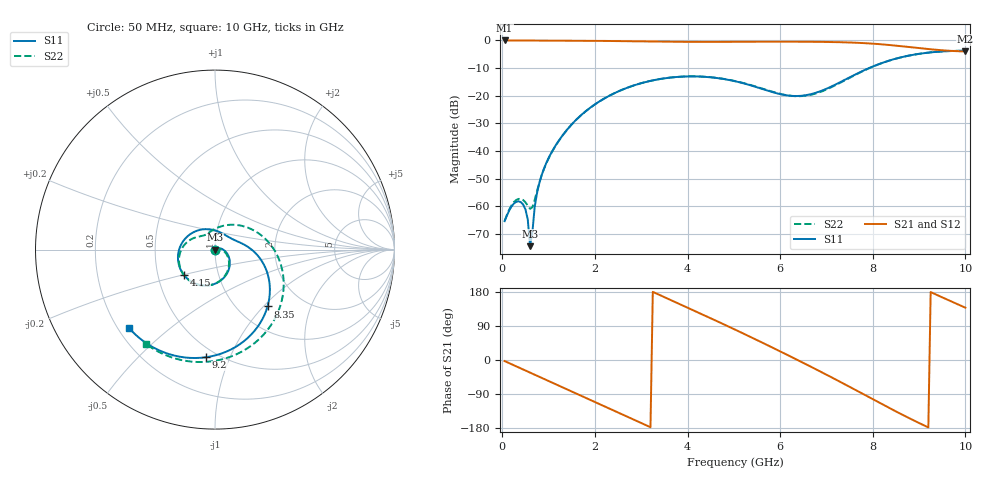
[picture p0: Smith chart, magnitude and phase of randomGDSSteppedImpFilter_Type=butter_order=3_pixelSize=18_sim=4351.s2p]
! freq	dB(S11)	phase(S11)	dB(S12)	phase(S12)
!  dB(S21)	phase(S21)	dB(S22)	phase(S22)
!S-par simulation data
#  GHz  S  DB  R 50
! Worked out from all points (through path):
!   200 points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, 50 MHz to 10 GHz, reference 50 ohm
!   highest |S21| = -0.01 dB at 50 MHz (marker M1); lowest = -4.0 dB at 10 GHz (marker M2)
!   group delay of S21, straight-line fit = 163 ps
!   lowest |S11| = -74.4 dB at 600 MHz (marker M3), VSWR 1.00, Z = 50 - j0.0149 ohm
!   |S11| at or under -10 dB: start of sweep to 7.919 GHz
!   |S22| runs from -65.3 to -3.7 dB; largest |S21 - S12| = 0
!   S11 on the Smith chart (normalised r, x): 50 MHz: 1.00, -0.00; 4.15 GHz: 0.68, -0.20; 8.35 GHz: 1.36, -1.05; 9.2 GHz: 0.44, -0.82; 10 GHz: 0.24, -0.37
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0.05  -65.39 -18.8  -0.01 -2.8  -0.01 -2.8  -65.28 -18.7
0.25  -59.02 -79.6  -0.02 -13.8  -0.02 -13.8  -58.47 -72.7
0.4  -58.49 -96.6  -0.03 -22.1  -0.03 -22.1  -57.35 -80.1
0.55  -64.73 -111.8  -0.04 -30.3  -0.04 -30.3  -59.78 -65.2
0.6  -74.44 -128.2  -0.04 -33.1  -0.04 -33.1  -60.94 -46.5
0.75  -55.22 62.7  -0.05 -41.3  -0.05 -41.3  -54.47 18.8
0.9  -46.37 52.8  -0.06 -49.6  -0.06 -49.6  -46.49 29.4
1.25  -35.53 29.3  -0.08 -68.9  -0.08 -68.9  -35.60 17.8
1.75  -26.33 -2.2  -0.12 -96.6  -0.12 -96.6  -26.34 -8.7
2.65  -17.42 -55.1  -0.26 -146.8  -0.26 -146.8  -17.42 -57.7
3.4  -13.98 -98.1  -0.42 171.5  -0.42 171.5  -13.96 -98.1
4.15  -13.02 -141.3  -0.52 129.8  -0.52 129.8  -12.99 -137.6
4.6  -13.52 -168.2  -0.53 104.5  -0.53 104.5  -13.47 -160.8
5.05  -14.85 163.0  -0.50 78.9  -0.50 78.9  -14.77 176.9
5.95  -19.22 93.8  -0.44 25.8  -0.44 25.8  -19.11 138.4
6.7  -19.28 35.2  -0.49 -20.0  -0.49 -20.0  -19.52 101.4
7.55  -12.93 -4.8  -0.77 -74.1  -0.77 -74.1  -13.08 33.1
7.95  -9.78 -25.1  -1.11 -100.2  -1.11 -100.2  -9.84 1.9
8.35  -7.31 -47.2  -1.64 -126.2  -1.64 -126.2  -7.33 -27.1
8.75  -5.59 -69.8  -2.32 -151.3  -2.32 -151.3  -5.59 -53.9
9.2  -4.41 -94.8  -3.12 -177.9  -3.12 -177.9  -4.40 -81.6
10  -3.77 -137.8  -3.99 138.0  -3.99 138.0  -3.73 -126.3
